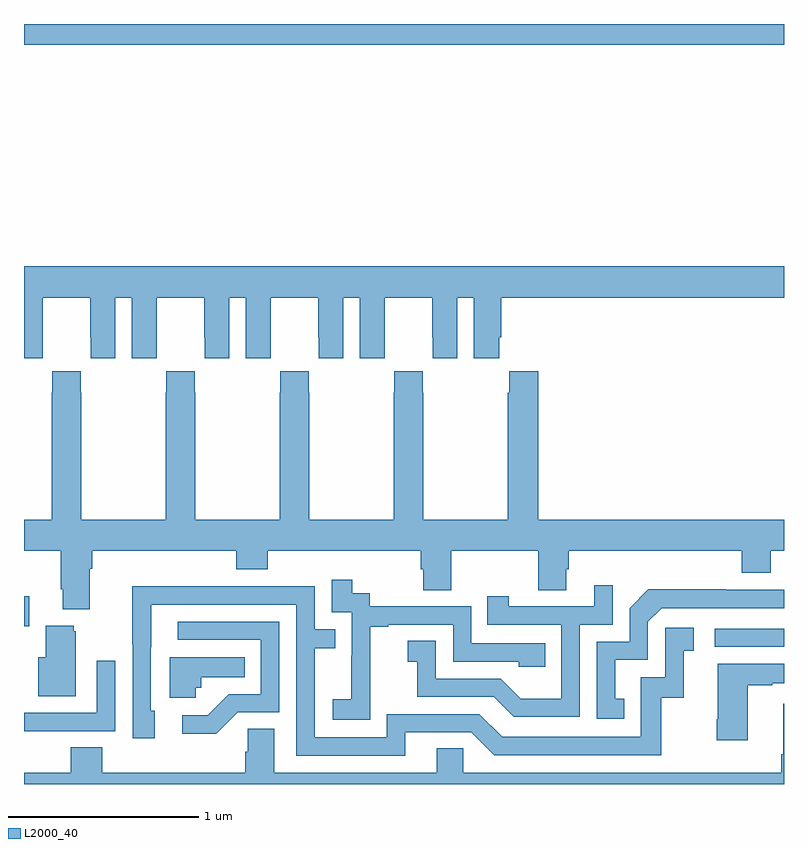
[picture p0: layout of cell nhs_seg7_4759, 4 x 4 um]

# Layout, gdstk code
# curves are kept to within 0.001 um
import gdstk
lib = gdstk.Library(unit=1e-6, precision=1e-09)
def R(c, l, rs):  # rectangles x0, y0, x1, y1
    for r in rs: c.add(gdstk.rectangle(r[:2], r[2:], *l))
def P(c, l, *ps):  # polygons
    for p in ps: c.add(gdstk.Polygon(p, *l))
L2000_40 = (2000, 40)

nhs_seg7_4759 = lib.new_cell('nhs_seg7_4759')
R(nhs_seg7_4759, L2000_40, [(412.635,1054.722,413,1054.818), (409,1054.831,409.027,1054.987), (409,1057.892,413,1058)])
P(nhs_seg7_4759, L2000_40, [(409.098,1056.352),(409.099,1056.352),(409.099,1056.56),(409.349,1056.56),(409.349,1056.352),(409.35,1056.352),(409.35,1056.24),(409.48,1056.24),(409.48,1056.56),(409.568,1056.56),(409.568,1056.24),(409.698,1056.24),(409.698,1056.352),(409.699,1056.352),(409.699,1056.56),(409.949,1056.56),(409.949,1056.352),(409.95,1056.352),(409.95,1056.24),(410.08,1056.24),(410.08,1056.56),(410.168,1056.56),(410.168,1056.24),(410.298,1056.24),(410.298,1056.352),(410.299,1056.352),(410.299,1056.56),(410.549,1056.56),(410.549,1056.352),(410.55,1056.352),(410.55,1056.24),(410.68,1056.24),(410.68,1056.56),(410.768,1056.56),(410.768,1056.24),(410.898,1056.24),(410.898,1056.352),(410.899,1056.352),(410.899,1056.56),(411.149,1056.56),(411.149,1056.352),(411.15,1056.352),(411.15,1056.24),(411.28,1056.24),(411.28,1056.56),(411.368,1056.56),(411.368,1056.24),(411.502,1056.24),(411.502,1056.352),(411.512,1056.352),(411.512,1056.56),(413,1056.56),(413,1056.724),(409,1056.724),(409,1056.24),(409.098,1056.24)],
  [(409.345,1055.132),(409.358,1055.132),(409.358,1055.228),(410.117,1055.228),(410.117,1055.129),(410.282,1055.129),(410.282,1055.228),(411.089,1055.228),(411.089,1055.13),(411.101,1055.13),(411.101,1055.02),(411.249,1055.02),(411.249,1055.228),(411.706,1055.228),(411.706,1055.02),(411.853,1055.02),(411.853,1055.13),(411.866,1055.13),(411.866,1055.228),(412.778,1055.228),(412.778,1055.111),(412.93,1055.111),(412.93,1055.228),(413,1055.228),(413,1055.392),(411.707,1055.392),(411.707,1056.172),(411.553,1056.172),(411.553,1056.059),(411.547,1056.059),(411.547,1055.392),(411.102,1055.392),(411.102,1056.059),(411.099,1056.059),(411.099,1056.172),(410.949,1056.172),(410.949,1056.059),(410.947,1056.059),(410.947,1055.392),(410.502,1055.392),(410.502,1056.059),(410.499,1056.059),(410.499,1056.172),(410.349,1056.172),(410.349,1056.059),(410.347,1056.059),(410.347,1055.392),(409.902,1055.392),(409.902,1056.059),(409.899,1056.059),(409.899,1056.172),(409.749,1056.172),(409.749,1056.059),(409.747,1056.059),(409.747,1055.392),(409.302,1055.392),(409.302,1056.059),(409.299,1056.059),(409.299,1056.172),(409.149,1056.172),(409.149,1056.059),(409.147,1056.059),(409.147,1055.392),(409,1055.392),(409,1055.228),(409.193,1055.228),(409.193,1055.026),(409.205,1055.026),(409.205,1054.919),(409.345,1054.919)],
  [(410.823,1054.543),(410.822,1054.543),(410.822,1054.827),(410.917,1054.827),(410.917,1054.839),(411.258,1054.839),(411.258,1054.644),(411.603,1054.644),(411.603,1054.617),(411.743,1054.617),(411.743,1054.74),(411.354,1054.74),(411.354,1054.935),(410.82,1054.935),(410.82,1055.004),(410.728,1055.004),(410.728,1055.074),(410.619,1055.074),(410.619,1054.905),(410.724,1054.905),(410.724,1054.676),(410.723,1054.676),(410.723,1054.447),(410.625,1054.447),(410.625,1054.337),(410.823,1054.337)],
  [(411.924,1054.839),(412.098,1054.839),(412.098,1055.047),(412.001,1055.047),(412.001,1054.935),(411.55,1054.935),(411.55,1054.987),(411.439,1054.987),(411.439,1054.839),(411.828,1054.839),(411.828,1054.45),(411.614,1054.45),(411.51,1054.554),(411.168,1054.554),(411.168,1054.753),(411.021,1054.753),(411.021,1054.643),(411.07,1054.643),(411.07,1054.458),(411.473,1054.458),(411.578,1054.353),(411.924,1054.353)],
  [(411.007,1054.272),(411.354,1054.272),(411.474,1054.152),(412.354,1054.152),(412.354,1054.455),(412.472,1054.455),(412.472,1054.701),(412.525,1054.701),(412.525,1054.822),(412.374,1054.822),(412.374,1054.563),(412.245,1054.563),(412.245,1054.248),(411.516,1054.248),(411.396,1054.368),(410.91,1054.368),(410.91,1054.245),(410.529,1054.245),(410.529,1054.714),(410.639,1054.714),(410.639,1054.815),(410.529,1054.815),(410.529,1055.04),(410.033,1055.04),(410.033,1055.042),(409.57,1055.042),(409.57,1054.735),(409.572,1054.735),(409.572,1054.242),(409.687,1054.242),(409.687,1054.386),(409.668,1054.386),(409.669,1054.944),(410.433,1054.944),(410.433,1054.149),(411.007,1054.149)],
  [(412.16,1054.449),(412.111,1054.449),(412.111,1054.653),(412.284,1054.653),(412.284,1054.854),(412.356,1054.926),(413,1054.926),(413,1055.022),(412.694,1055.022),(412.694,1055.024),(412.286,1055.024),(412.188,1054.926),(412.188,1054.749),(412.014,1054.749),(412.014,1054.344),(412.16,1054.344)],
  [(410.124,1054.377),(410.343,1054.377),(410.343,1054.854),(409.809,1054.854),(409.809,1054.758),(410.247,1054.758),(410.247,1054.473),(410.078,1054.473),(409.967,1054.362),(409.833,1054.362),(409.833,1054.265),(410.011,1054.265)],
  [(409.273,1054.803),(409.262,1054.803),(409.262,1054.834),(409.115,1054.834),(409.115,1054.666),(409.076,1054.666),(409.076,1054.463),(409.273,1054.463)],
  [(409.905,1054.506),(409.932,1054.506),(409.932,1054.562),(410.162,1054.562),(410.162,1054.666),(409.766,1054.666),(409.766,1054.454),(409.905,1054.454)],
  [(409.163,1054.278),(409.479,1054.278),(409.479,1054.648),(409.383,1054.648),(409.383,1054.374),(409,1054.374),(409,1054.277),(409.163,1054.277)],
  [(412.81,1054.519),(412.937,1054.519),(412.937,1054.529),(413,1054.529),(413,1054.633),(412.652,1054.633),(412.652,1054.342),(412.645,1054.342),(412.645,1054.23),(412.81,1054.23)],
  [(409.412,1054.193),(409.247,1054.193),(409.247,1054.06),(409,1054.06),(409,1054),(413,1054),(413,1054.423),(412.997,1054.423),(412.997,1054.156),(412.985,1054.156),(412.985,1054.06),(411.312,1054.06),(411.312,1054.187),(411.173,1054.187),(411.173,1054.06),(410.317,1054.06),(410.317,1054.292),(410.178,1054.292),(410.178,1054.169),(410.165,1054.169),(410.165,1054.06),(409.412,1054.06)])

lib.write_gds('nhs_seg7_4759.gds')
